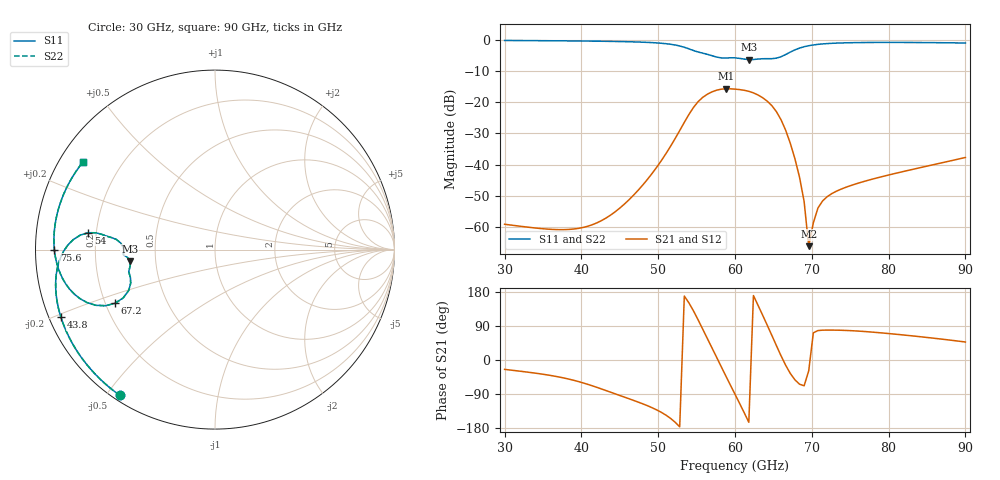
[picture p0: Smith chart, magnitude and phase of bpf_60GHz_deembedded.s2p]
! Created with skrf 2.2.0 (http://scikit-rf.org).
# GHz S DB R 50.0
! Port[1] = P1
! Port[2] = P2
!freq dBS11 angS11 dBS21 angS21 dBS12 angS12 dBS22 angS22
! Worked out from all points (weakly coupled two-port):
!   101 points, 30 GHz to 90 GHz, reference 50 ohm
!   highest |S21| = -15.71 dB at 58.8 GHz (marker M1); lowest = -66.0 dB at 69.6 GHz (marker M2)
!   lowest |S11| = -6.4 dB at 61.8 GHz (marker M3), VSWR 2.84, Z = 17.7 - j3.01 ohm
!   |S11| at or under -10 dB: nowhere
!   |S22| runs from -6.4 to -0.3 dB; largest |S21 - S12| = 3.6e-13
!   S11 on the Smith chart (normalised r, x): 30 GHz: 0.02, -0.54; 43.8 GHz: 0.03, -0.21; 54 GHz: 0.17, +0.06; 67.2 GHz: 0.24, -0.24; 75.6 GHz: 0.06, -0.00; 90 GHz: 0.07, +0.30
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30  -0.27 -123.1  -59.04 -24.7  -59.04 -24.7  -0.27 -123.1
40.2  -0.45 -147.9  -60.07 -60.3  -60.07 -60.3  -0.45 -147.9
43.8  -0.56 -156.5  -56.11 -85.0  -56.11 -85.0  -0.56 -156.5
47.4  -0.77 -165.7  -48.14 -111.1  -48.14 -111.1  -0.77 -165.7
50.4  -1.16 -175.0  -38.72 -138.1  -38.72 -138.1  -1.16 -175.0
54  -2.95 172.4  -23.93 150.6  -23.93 150.6  -2.94 172.4
56.4  -4.70 173.3  -17.46 56.6  -17.46 56.6  -4.70 173.3
58.8  -5.87 -178.5  -15.71 -41.9  -15.71 -41.9  -5.88 -178.5
60  -5.83 -176.6  -15.83 -90.4  -15.83 -90.4  -5.84 -176.6
61.8  -6.39 -172.1  -16.53 -164.4  -16.53 -164.4  -6.39 -172.1
64.8  -6.09 -161.9  -21.12 64.8  -21.12 64.8  -6.09 -161.8
66  -5.47 -154.6  -25.65 10.8  -25.65 10.8  -5.46 -154.6
67.2  -3.99 -151.8  -33.14 -35.4  -33.14 -35.4  -3.99 -151.8
68.4  -2.71 -154.9  -43.97 -63.9  -43.97 -63.9  -2.70 -154.9
69  -2.27 -157.4  -51.75 -68.1  -51.75 -68.1  -2.27 -157.4
69.6  -1.94 -160.0  -66.05 -28.5  -66.05 -28.5  -1.94 -160.0
70.2  -1.70 -162.5  -58.59 71.7  -58.59 71.7  -1.70 -162.5
70.8  -1.52 -164.8  -53.85 77.7  -53.85 77.7  -1.52 -164.8
72  -1.27 -169.2  -50.23 78.9  -50.23 78.9  -1.27 -169.2
75.6  -0.97 -179.9  -46.24 76.9  -46.24 76.9  -0.97 -179.9
80.4  -0.90 168.5  -43.05 69.1  -43.05 69.1  -0.90 168.5
90  -1.08 146.5  -37.68 47.5  -37.68 47.5  -1.08 146.5
